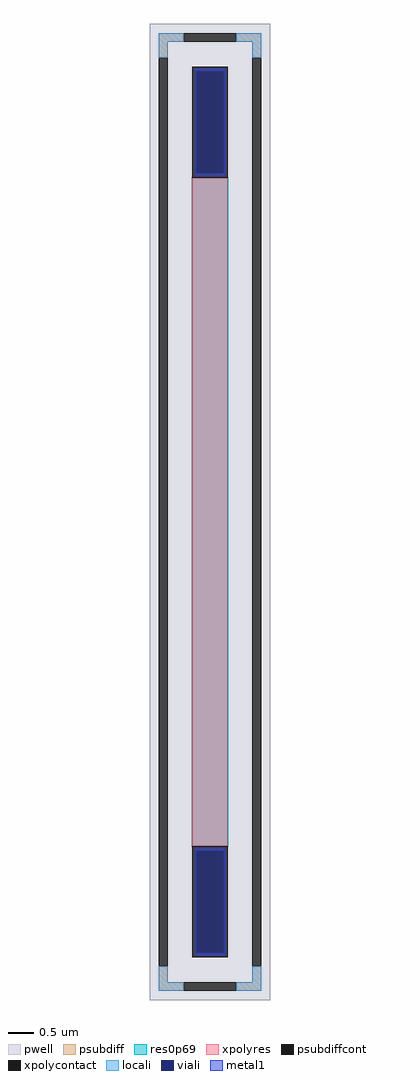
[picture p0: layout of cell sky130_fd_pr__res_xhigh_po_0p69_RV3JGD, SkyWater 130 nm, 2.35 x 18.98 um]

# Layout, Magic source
magic
tech sky130A
magscale 1 2
<< pwell >>
rect -235 -1898 235 1898
<< psubdiff >>
rect -199 1828 -103 1862
rect 103 1828 199 1862
rect -199 1766 -165 1828
rect 165 1766 199 1828
rect -199 -1828 -165 -1766
rect 165 -1828 199 -1766
rect -199 -1862 -103 -1828
rect 103 -1862 199 -1828
<< psubdiffcont >>
rect -103 1828 103 1862
rect -199 -1766 -165 1766
rect 165 -1766 199 1766
rect -103 -1862 103 -1828
<< xpolycontact >>
rect -69 1300 69 1732
rect -69 -1732 69 -1300
<< xpolyres >>
rect -69 -1300 69 1300
<< locali >>
rect -199 1828 -103 1862
rect 103 1828 199 1862
rect -199 1766 -165 1828
rect 165 1766 199 1828
rect -199 -1828 -165 -1766
rect 165 -1828 199 -1766
rect -199 -1862 -103 -1828
rect 103 -1862 199 -1828
<< viali >>
rect -53 1317 53 1714
rect -53 -1714 53 -1317
<< metal1 >>
rect -59 1714 59 1726
rect -59 1317 -53 1714
rect 53 1317 59 1714
rect -59 1305 59 1317
rect -59 -1317 59 -1305
rect -59 -1714 -53 -1317
rect 53 -1714 59 -1317
rect -59 -1726 59 -1714
<< res0p69 >>
rect -71 -1302 71 1302
<< properties >>
string FIXED_BBOX -182 -1845 182 1845
string gencell sky130_fd_pr__res_xhigh_po_0p69
string library sky130
string parameters w 0.690 l 13.0 m 1 nx 1 wmin 0.690 lmin 0.50 rho 2000 val 38.226k dummy 0 dw 0.0 term 188.2 sterm 0.0 caplen 0 wmax 0.690 guard 1 glc 1 grc 1 gtc 1 gbc 1 compatible {sky130_fd_pr__res_xhigh_po_0p35  sky130_fd_pr__res_xhigh_po_0p69 sky130_fd_pr__res_xhigh_po_1p41  sky130_fd_pr__res_xhigh_po_2p85 sky130_fd_pr__res_xhigh_po_5p73} full_metal 1 n_guard 0 hv_guard 0 vias 1 viagb 0 viagt 0 viagl 0 viagr 0
<< end >>
